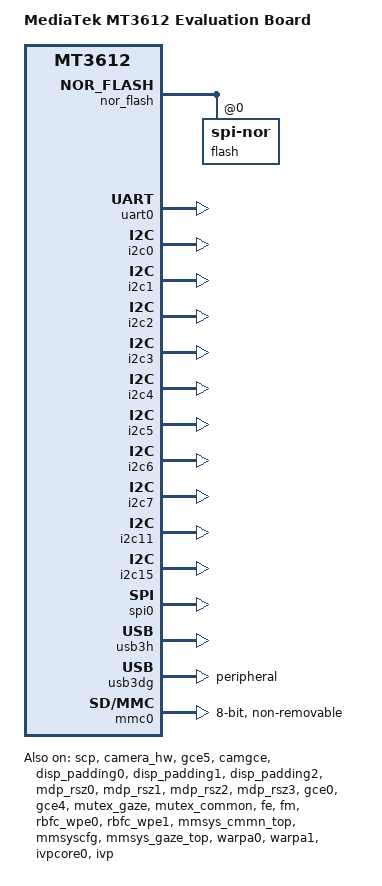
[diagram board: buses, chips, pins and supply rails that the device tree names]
/*
 * Copyright (c) 2018 MediaTek Inc.
 * Author: Yung-Chi Chen <yung-chi.chen@mediatek.com>
 *
 * This program is free software; you can redistribute it and/or modify
 * it under the terms of the GNU General Public License version 2 as
 * published by the Free Software Foundation.
 *
 * This program is distributed in the hope that it will be useful,
 * but WITHOUT ANY WARRANTY; without even the implied warranty of
 * MERCHANTABILITY or FITNESS FOR A PARTICULAR PURPOSE.  See the
 * GNU General Public License for more details.
 */

/dts-v1/;

#include "mt3612-fpga-system.dtsi"
#include "mt3612-fpga-peri.dtsi"
#include "mt3612-fpga-mm.dtsi"
#include "mt3612-fpga-test.dtsi"
#include "mt3612-fpga-camera-i2c.dtsi"
#include "mt3612-fpga-camera.dtsi"

/ {
	model = "MediaTek MT3612 Evaluation Board";
	compatible = "mediatek,mt3612-evb", "mediatek,mt3612";
	interrupt-parent = <&sysirq>;
	#address-cells = <2>;
	#size-cells = <2>;

	aliases {
		serial0 = &uart0;
	};

	reserved-memory {
		#address-cells = <2>;
		#size-cells = <2>;
		ranges;

		cam_rsv_mem: cam_rsv_memory@5A000000 {
			compatible = "shared-dma-pool";
			reg = <0 0x5A000000 0 0x2000000>;
			alignment = <0x1000>;
			no-map;
		};

	};

	chosen {
		/*bootargs = "console=ttyS0,921600n1 initcall_debug=1 loglevel=8 androidboot.selinux=disabled"; */
		bootargs = "console=ttyS0,921600n1 root=/dev/ram auto_detect_partition init=/init earlycon=mtk8250,0x11020000,921600n8 loglevel=8";
		linux,stdout-path = "serial0";
		linux,initrd-start = <0x48000000>;
		linux,initrd-end = <0x4A000000>;
	};

};


&psci_cfg{
	compatible	= "arm,SHELL ONLY";
};

&cpus_cfg{
	#address-cells = <1>;
	#size-cells = <0>;

	cpu0: cpu@0 {
		device_type = "cpu";
		compatible = "arm,cortex-a35";
		reg = <0x000>;
		enable-method = "psci";
	};

};

&uart_clk{
	clock-frequency = <6000000>;
};

&nor_flash {
	status = "okay";
	flash@0 {
		compatible = "jedec,spi-nor";
		reg = <0>;
	};
};

&arm_timer {
	clock-frequency = <6000000>;
};

&uart0 {
	clocks = <&uart_clk>;
	status = "okay";
};

&i2c0 {
	status = "okay";
};

&i2c1 {
	status = "okay";
};

&i2c2 {
	status = "okay";
};

&i2c3 {
	status = "okay";
};

&i2c4 {
	status = "okay";
};

&i2c5 {
	status = "okay";
};

&i2c6 {
	status = "okay";
};

&i2c7 {
	status = "okay";
};

&i2c11 {
	status = "okay";
};

&i2c15 {
	status = "okay";
};

&spi0 {
	status = "okay";
};

&scp {
	status = "okay";
	core_1 = "enable";
	scp_sramSize = <0x00040000>;	 /* scp_A_sram_size */
};

&camera_hw {
	status = "okay";
};

&gce5 {
	status = "okay";
};

&camgce {
	status = "okay";
};

&usb3h {
	status = "okay";
};


&usb3dg {
	dr_mode = "peripheral";
	status = "okay";
};


&disp_padding0 {
	status = "okay";
};

&disp_padding1 {
	status = "okay";
};

&disp_padding2 {
	status = "okay";
};

&mdp_rsz0 {
	status = "okay";
};

&mdp_rsz1 {
	status = "okay";
};

&mdp_rsz2 {
	status = "okay";
};

&mdp_rsz3 {
	status = "okay";
};

&gce0 {
	status = "okay";
};

&gce4 {
	status = "okay";
};

&gce5 {
	status = "okay";
};

&usb3h {
	status = "okay";
};


&usb3dg {
	dr_mode = "peripheral";
	status = "okay";
};

&mutex_gaze {
	status = "okay";
};

&mutex_common {
	status = "okay";
};

&mmc0 {
	clk_src = /bits/ 8 <MSDC50_CLKSRC_400MHZ>;
	bus-width = <8>;
	max-frequency = <26000000>;
	cap-mmc-highspeed;
	msdc-sys-suspend;
	mmc-ddr-1_8v;
	mmc-hs200-1_8v;
	mmc-hs400-1_8v;
	non-removable;
	/*
	 * pinctl = <&mmc0_pins_default>;
	 * register_setting = <&mmc0_register_setting_default>;
	 */
	host_function = /bits/ 8 <MSDC_EMMC>;
	bootable;
	status = "okay";
};


&fe {
	status = "okay";
};

&fm {
	status = "okay";
};

&common_wdma0 {
	status = "okay";
};

&common_wdma1 {
	status = "okay";
};

&common_wdma2 {
	status = "okay";
};

&gaze_wdma0 {
	status = "okay";
};
&rbfc_rdma {
	status = "okay";
};

&rbfc_wpe0 {
	status = "okay";
};

&rbfc_wpe1 {
	status = "okay";
};

&mmsys_cmmn_top {
	status = "okay";
};

&mmsyscfg {
	status = "okay";
};

&mmsys_gaze_top {
	status = "okay";
};

&warpa0 {
	status = "okay";
};

&warpa1 {
	status = "okay";
};

&iommu {
	status = "okay";
};

&ivpcore0 {
	status = "okay";
};

&ivp {
	status = "okay";
};

&mm_sysram1 {
	status = "okay";
};

&mm_sysram2 {
	status = "okay";
};
